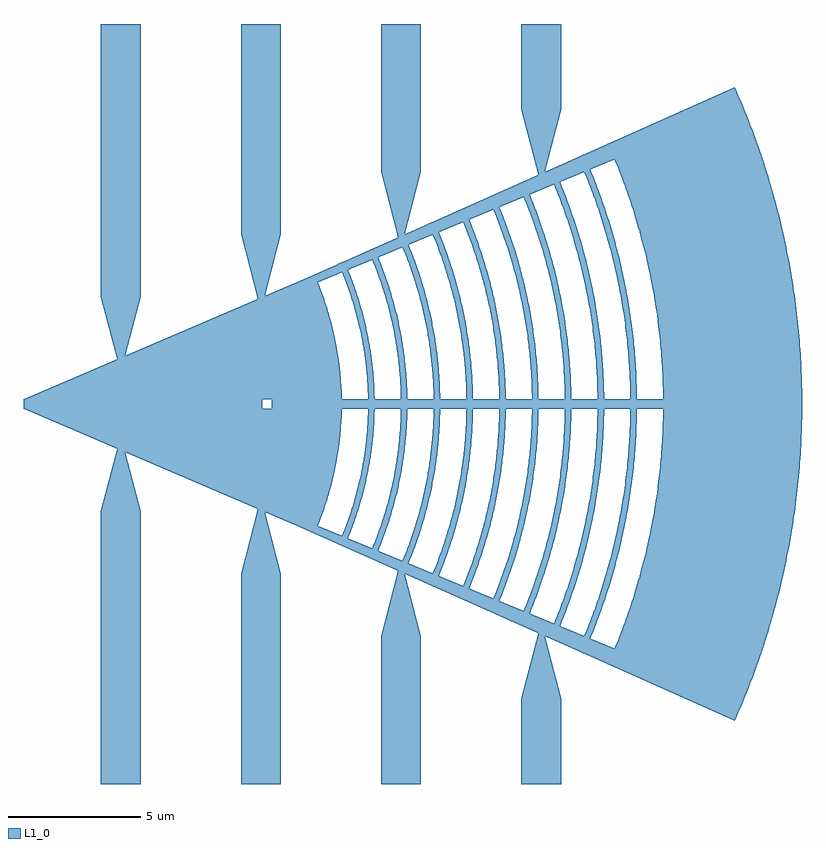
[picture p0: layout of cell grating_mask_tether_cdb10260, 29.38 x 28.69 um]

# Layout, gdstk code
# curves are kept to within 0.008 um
import gdstk
lib = gdstk.Library(unit=1e-6, precision=2e-09)
def R(c, l, rs):  # rectangles x0, y0, x1, y1
    for r in rs: c.add(gdstk.rectangle(r[:2], r[2:], *l))
def P(c, l, *ps):  # polygons
    for p in ps: c.add(gdstk.Polygon(p, *l))
L1_0 = (1, 0)

compass_size13p376__0p3_ = lib.new_cell('compass_size13p376__0p3_04e9e930')
R(compass_size13p376__0p3_, L1_0, [(0,0,13.376,0.35)])

rectangle_size13p376__0p = lib.new_cell('rectangle_size13p376__0p35')
rectangle_size13p376__0p.add(gdstk.Reference(compass_size13p376__0p3_, (0,0)))

boolean_375e6709 = lib.new_cell('boolean_375e6709')
P(boolean_375e6709, L1_0, [(22.104,9.688),(22.532,8.648),(22.82,7.858),(22.996,7.324),(23.2,6.652),(23.348,6.11),(23.516,5.43),(23.636,4.88),(23.768,4.19),(23.88,3.498),(24.03,2.244),(24.108,1.122),(24.128,0.562),(24.134,-0.14),(24.12,-0.842),(24.094,-1.404),(24.002,-2.522),(23.88,-3.498),(23.768,-4.19),(23.636,-4.88),(23.516,-5.43),(23.348,-6.11),(23.2,-6.652),(22.996,-7.324),(22.82,-7.858),(22.532,-8.648),(22.048,-9.816),(26.836,-11.948),(27.238,-11.004),(27.72,-9.726),(28.042,-8.752),(28.374,-7.604),(28.662,-6.442),(28.9,-5.27),(29.066,-4.258),(29.216,-3.07),(29.316,-1.878),(29.364,-0.854),(29.374,0.342),(29.336,1.538),(29.264,2.56),(29.216,3.07),(29.114,3.918),(28.9,5.27),(28.662,6.442),(28.504,7.106),(28.33,7.768),(28.142,8.426),(27.886,9.24),(27.604,10.048),(27.364,10.686),(27.108,11.32),(26.836,11.948),(22.048,9.816)],
  [(21.192,-9.288),(21.454,-8.668),(21.65,-8.166),(22.048,-7.022),(22.242,-6.378),(22.452,-5.598),(22.688,-4.548),(22.894,-3.354),(23.026,-2.284),(23.114,-1.076),(23.138,0.134),(23.1,1.346),(22.998,2.552),(22.914,3.22),(22.81,3.886),(22.688,4.548),(22.576,5.074),(22.452,5.598),(22.242,6.378),(21.922,7.406),(21.554,8.418),(21.138,9.412),(20.916,9.312),(21.23,8.578),(21.47,7.956),(21.692,7.328),(21.896,6.694),(22.082,6.054),(22.28,5.28),(22.526,4.108),(22.674,3.186),(22.798,2.128),(22.872,1.066),(22.896,0.134),(22.878,-0.932),(22.81,-1.996),(22.692,-3.054),(22.526,-4.108),(22.28,-5.28),(22.082,-6.054),(21.896,-6.694),(21.692,-7.328),(21.47,-7.956),(21.23,-8.578),(20.916,-9.312),(21.138,-9.412)],
  [(20.058,-8.792),(20.492,-7.73),(20.868,-6.646),(21.188,-5.546),(21.34,-4.926),(21.474,-4.304),(21.67,-3.174),(21.768,-2.416),(21.818,-1.908),(21.888,-0.764),(21.9,0.254),(21.864,1.274),(21.768,2.416),(21.632,3.426),(21.546,3.928),(21.396,4.678),(21.122,5.792),(20.79,6.888),(20.4,7.968),(20.008,8.908),(19.786,8.81),(20.082,8.114),(20.266,7.644),(20.52,6.932),(20.676,6.452),(20.888,5.728),(21.016,5.24),(21.186,4.504),(21.308,3.886),(21.466,2.89),(21.566,2.014),(21.63,1.134),(21.658,0.252),(21.656,-0.378),(21.636,-1.008),(21.566,-2.014),(21.466,-2.89),(21.308,-3.886),(21.186,-4.504),(21.016,-5.24),(20.888,-5.728),(20.676,-6.452),(20.52,-6.932),(20.266,-7.644),(20.082,-8.114),(19.786,-8.81),(20.008,-8.908)],
  [(18.926,-8.294),(19.334,-7.292),(19.652,-6.386),(19.96,-5.348),(20.212,-4.296),(20.39,-3.352),(20.538,-2.28),(20.628,-1.202),(20.658,-0.48),(20.664,0),(20.658,0.48),(20.628,1.202),(20.538,2.28),(20.39,3.352),(20.212,4.296),(19.96,5.348),(19.652,6.386),(19.418,7.068),(19.248,7.518),(18.876,8.404),(18.656,8.306),(18.89,7.76),(19.106,7.208),(19.27,6.76),(19.494,6.084),(19.786,5.056),(19.95,4.362),(20.09,3.664),(20.254,2.606),(20.344,1.78),(20.4,0.95),(20.422,0),(20.4,-0.95),(20.344,-1.78),(20.254,-2.606),(20.09,-3.664),(19.95,-4.362),(19.786,-5.056),(19.494,-6.084),(19.27,-6.76),(19.106,-7.208),(18.89,-7.76),(18.656,-8.306),(18.876,-8.404)],
  [(17.792,-7.798),(18.136,-6.962),(18.51,-5.896),(18.764,-5.028),(19.002,-4.038),(19.204,-2.928),(19.32,-2.03),(19.4,-1.016),(19.426,0.112),(19.4,1.016),(19.362,1.58),(19.308,2.142),(19.15,3.262),(18.978,4.15),(18.764,5.028),(18.61,5.572),(18.44,6.11),(18.136,6.962),(17.746,7.902),(17.526,7.802),(17.95,6.77),(18.312,5.716),(18.614,4.64),(18.832,3.66),(18.982,2.78),(19.09,1.894),(19.158,1.004),(19.184,0.112),(19.168,-0.78),(19.12,-1.56),(19.054,-2.228),(18.912,-3.222),(18.788,-3.88),(18.692,-4.316),(18.53,-4.966),(18.346,-5.608),(18.138,-6.246),(17.95,-6.77),(17.526,-7.802),(17.746,-7.902)],
  [(16.658,-7.3),(17.018,-6.42),(17.198,-5.922),(17.394,-5.318),(17.674,-4.298),(17.834,-3.574),(17.996,-2.636),(18.1,-1.796),(18.164,-0.952),(18.184,-0.424),(18.188,0.106),(18.158,1.058),(18.066,2.112),(17.948,2.95),(17.746,3.988),(17.484,5.014),(17.232,5.822),(16.904,6.716),(16.616,7.398),(16.394,7.3),(16.792,6.334),(17.132,5.346),(17.308,4.746),(17.438,4.24),(17.576,3.628),(17.674,3.116),(17.8,2.29),(17.878,1.564),(17.932,0.73),(17.946,0.104),(17.932,-0.73),(17.878,-1.564),(17.8,-2.29),(17.692,-3.014),(17.576,-3.628),(17.438,-4.24),(17.308,-4.746),(17.132,-5.346),(16.792,-6.334),(16.394,-7.3),(16.616,-7.398)],
  [(15.524,-6.804),(15.86,-5.982),(16.21,-4.956),(16.398,-4.292),(16.62,-3.33),(16.772,-2.456),(16.878,-1.576),(16.928,-0.888),(16.944,-0.494),(16.95,0.198),(16.928,0.888),(16.848,1.87),(16.726,2.75),(16.56,3.62),(16.348,4.482),(16.09,5.332),(15.79,6.166),(15.486,6.894),(15.264,6.796),(15.492,6.26),(15.668,5.806),(15.95,4.978),(16.062,4.606),(16.236,3.948),(16.438,2.998),(16.56,2.23),(16.636,1.554),(16.686,0.874),(16.708,0.194),(16.702,-0.486),(16.668,-1.166),(16.596,-1.94),(16.472,-2.806),(16.364,-3.378),(16.236,-3.948),(15.978,-4.886),(15.668,-5.806),(15.492,-6.26),(15.264,-6.796),(15.486,-6.894)],
  [(14.392,-6.308),(14.67,-5.632),(15,-4.682),(15.224,-3.89),(15.388,-3.178),(15.534,-2.368),(15.636,-1.552),(15.7,-0.64),(15.712,0.182),(15.692,0.822),(15.616,1.734),(15.52,2.458),(15.37,3.266),(15.154,4.156),(14.944,4.856),(14.67,5.632),(14.354,6.39),(14.134,6.292),(14.444,5.544),(14.742,4.696),(14.944,4.004),(15.114,3.304),(15.252,2.598),(15.356,1.886),(15.434,1.08),(15.47,0.18),(15.462,-0.54),(15.434,-1.08),(15.396,-1.528),(15.308,-2.242),(15.152,-3.128),(14.99,-3.83),(14.742,-4.696),(14.476,-5.46),(14.134,-6.292),(14.354,-6.39)],
  [(13.258,-5.81),(13.574,-5.03),(13.818,-4.312),(14.004,-3.666),(14.176,-2.928),(14.31,-2.182),(14.396,-1.514),(14.456,-0.758),(14.476,0.084),(14.446,0.926),(14.378,1.68),(14.284,2.348),(14.142,3.092),(13.96,3.828),(13.74,4.554),(13.484,5.266),(13.224,5.888),(13.002,5.79),(13.318,5.024),(13.562,4.32),(13.77,3.604),(13.94,2.878),(14.058,2.226),(14.156,1.488),(14.21,0.828),(14.234,0),(14.21,-0.828),(14.156,-1.488),(14.058,-2.226),(13.94,-2.878),(13.77,-3.604),(13.562,-4.32),(13.318,-5.024),(13.002,-5.79),(13.224,-5.888)],
  [(12.124,-5.314),(12.386,-4.672),(12.614,-4.018),(12.826,-3.278),(12.98,-2.602),(13.098,-1.918),(13.166,-1.384),(13.224,-0.616),(13.238,0.076),(13.216,0.77),(13.166,1.384),(13.05,2.222),(12.932,2.828),(12.826,3.278),(12.614,4.018),(12.386,4.672),(12.094,5.384),(11.872,5.286),(12.106,4.728),(12.36,4.016),(12.592,3.218),(12.712,2.702),(12.824,2.108),(12.908,1.508),(12.974,0.756),(12.996,0.076),(12.982,-0.604),(12.94,-1.208),(12.848,-1.958),(12.712,-2.702),(12.592,-3.218),(12.36,-4.016),(12.106,-4.728),(11.872,-5.286),(12.094,-5.384)],
  [(11.006,-4.786),(11.204,-4.3),(11.476,-3.508),(11.644,-2.902),(11.78,-2.29),(11.884,-1.67),(11.964,-0.942),(11.99,-0.524),(12,0.106),(11.978,0.732),(11.912,1.462),(11.836,1.98),(11.738,2.496),(11.564,3.208),(11.38,3.808),(11.204,4.3),(10.964,4.882),(0,0.176),(0,-0.176),(9,-0.176),(9,0.176),(9.35,0.176),(9.35,-0.176),(0,-0.176),(10.964,-4.882)])

ring_59177681_transform_ = lib.new_cell('ring_59177681_transform_831c825a')
P(ring_59177681_transform_, L1_0, [(22.268,-9.224),(0,0),(22.268,-9.914)],
  [(22.268,-9.914),(22.52,-9.332),(22.268,-9.224)])

c_ring_59177681_transform_ = lib.new_cell('ring_59177681_transform_6f518bc2')
P(c_ring_59177681_transform_, L1_0, [(22.268,9.224),(22.268,9.914),(0,0)],
  [(22.52,9.328),(22.268,9.914),(22.268,9.224)])

c__tether_straight_length_ = lib.new_cell('_tether_straight_length_db810c02')
R(c__tether_straight_length_, L1_0, [(2.904,4.056,4.404,14.344)])
P(c__tether_straight_length_, L1_0, [(3.754,1.556),(4.404,4.056),(2.904,4.056),(3.554,1.556)])

c__tether_straight_length__ = lib.new_cell('_tether_straight_length_3448534c')
R(c__tether_straight_length__, L1_0, [(2.904,-14.344,4.404,-4.056)])
P(c__tether_straight_length__, L1_0, [(3.554,-1.556),(2.904,-4.056),(4.404,-4.056),(3.754,-1.556)])

c__tether_straight_length___ = lib.new_cell('_tether_straight_length_a9b401bf')
R(c__tether_straight_length___, L1_0, [(8.196,6.412,9.696,14.344)])
P(c__tether_straight_length___, L1_0, [(9.046,3.912),(9.696,6.412),(8.196,6.412),(8.846,3.912)])

c__tether_straight_length____ = lib.new_cell('_tether_straight_length_0c83f2e4')
R(c__tether_straight_length____, L1_0, [(8.196,-14.344,9.696,-6.412)])
P(c__tether_straight_length____, L1_0, [(8.846,-3.912),(8.196,-6.412),(9.696,-6.412),(9.046,-3.912)])

c__tether_straight_length_____ = lib.new_cell('_tether_straight_length_638884d0')
R(c__tether_straight_length_____, L1_0, [(13.486,8.768,14.986,14.344)])
P(c__tether_straight_length_____, L1_0, [(14.336,6.268),(14.986,8.768),(13.486,8.768),(14.136,6.268)])

c__tether_straight_length______ = lib.new_cell('_tether_straight_length_d950d40d')
R(c__tether_straight_length______, L1_0, [(13.486,-14.344,14.986,-8.768)])
P(c__tether_straight_length______, L1_0, [(14.136,-6.268),(13.486,-8.768),(14.986,-8.768),(14.336,-6.268)])

c__tether_straight_length_______ = lib.new_cell('_tether_straight_length_4518a215')
R(c__tether_straight_length_______, L1_0, [(18.778,11.124,20.278,14.344)])
P(c__tether_straight_length_______, L1_0, [(19.628,8.624),(20.278,11.124),(18.778,11.124),(19.428,8.624)])

c__tether_straight_length________ = lib.new_cell('_tether_straight_length_f00deb15')
R(c__tether_straight_length________, L1_0, [(18.778,-14.344,20.278,-11.124)])
P(c__tether_straight_length________, L1_0, [(19.428,-8.624),(18.778,-11.124),(20.278,-11.124),(19.628,-8.624)])

section_2skeleton_tethe_ = lib.new_cell('section_2skeleton_tethe_e4e9244d')
section_2skeleton_tethe_.add(gdstk.Reference(ring_59177681_transform_, (0,0)))
section_2skeleton_tethe_.add(gdstk.Reference(c_ring_59177681_transform_, (0,0)))
section_2skeleton_tethe_.add(gdstk.Reference(c__tether_straight_length_, (0,0)))
section_2skeleton_tethe_.add(gdstk.Reference(c__tether_straight_length__, (0,0)))
section_2skeleton_tethe_.add(gdstk.Reference(c__tether_straight_length___, (0,0)))
section_2skeleton_tethe_.add(gdstk.Reference(c__tether_straight_length____, (0,0)))
section_2skeleton_tethe_.add(gdstk.Reference(c__tether_straight_length_____, (0,0)))
section_2skeleton_tethe_.add(gdstk.Reference(c__tether_straight_length______, (0,0)))
section_2skeleton_tethe_.add(gdstk.Reference(c__tether_straight_length_______, (0,0)))
section_2skeleton_tethe_.add(gdstk.Reference(c__tether_straight_length________, (0,0)))

grating_mask_tether_cdb1 = lib.new_cell('grating_mask_tether_cdb10260')
grating_mask_tether_cdb1.add(gdstk.Reference(rectangle_size13p376__0p, (11,-0.174)))
grating_mask_tether_cdb1.add(gdstk.Reference(boolean_375e6709, (0,0)))
grating_mask_tether_cdb1.add(gdstk.Reference(section_2skeleton_tethe_, (0,0)))

lib.write_gds('grating_mask_tether_cdb10260.gds')
